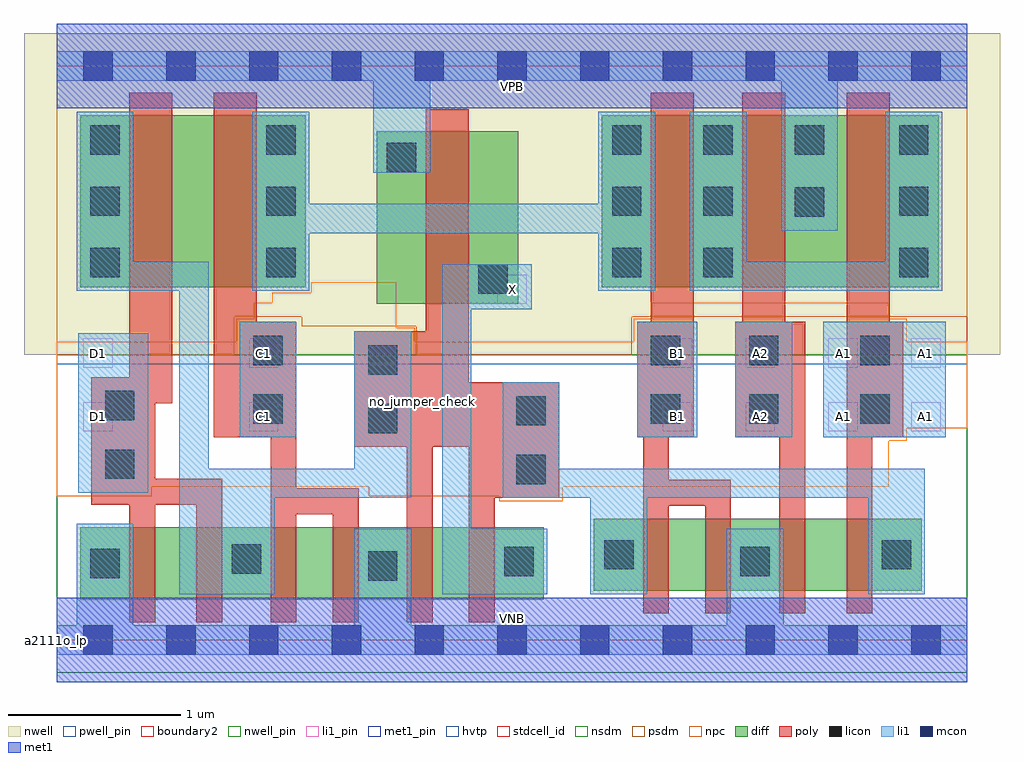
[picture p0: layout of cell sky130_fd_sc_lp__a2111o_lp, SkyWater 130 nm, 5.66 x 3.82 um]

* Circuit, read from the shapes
.subckt sky130_fd_sc_lp__a2111o_lp A1 A2 B1 C1 D1 VGND VNB VPB VPWR X
XM1 n1 D1 VGND VNB sky130_fd_pr__nfet_01v8 w=0.42 l=0.15
XM2 n2 D1 n1 VNB sky130_fd_pr__nfet_01v8 w=0.42 l=0.15
XM3 n3 C1 n2 VNB sky130_fd_pr__nfet_01v8 w=0.42 l=0.15
XM4 VGND C1 n3 VNB sky130_fd_pr__nfet_01v8 w=0.42 l=0.15
XM5 n4 n2 VGND VNB sky130_fd_pr__nfet_01v8 w=0.42 l=0.15
XM6 X n2 n4 VNB sky130_fd_pr__nfet_01v8 w=0.42 l=0.15
XM7 n5 B1 n2 VNB sky130_fd_pr__nfet_01v8 w=0.42 l=0.15
XM8 VGND B1 n5 VNB sky130_fd_pr__nfet_01v8 w=0.42 l=0.15
XM9 n6 A2 VGND VNB sky130_fd_pr__nfet_01v8 w=0.42 l=0.15
XM10 n2 A1 n6 VNB sky130_fd_pr__nfet_01v8 w=0.42 l=0.15
XM11 n7 D1 n2 VPB sky130_fd_pr__pfet_01v8_hvt w=1 l=0.25
XM12 n8 C1 n7 VPB sky130_fd_pr__pfet_01v8_hvt w=1 l=0.25
XM13 X n2 VPWR VPB sky130_fd_pr__pfet_01v8_hvt w=1 l=0.25
XM14 n9 B1 n8 VPB sky130_fd_pr__pfet_01v8_hvt w=1 l=0.25
XM15 VPWR A2 n9 VPB sky130_fd_pr__pfet_01v8_hvt w=1 l=0.25
XM16 n9 A1 VPWR VPB sky130_fd_pr__pfet_01v8_hvt w=1 l=0.25
.ends

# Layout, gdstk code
import gdstk
lib = gdstk.Library(unit=1e-6, precision=1e-09)
def R(c, l, rs):  # rectangles x0, y0, x1, y1
    for r in rs: c.add(gdstk.rectangle(r[:2], r[2:], *l))
def A(c, l, x, y, w, h, nx, ny, dx, dy):  # array of equal rectangles
    R(c, l, [(x+i*dx, y+j*dy, x+i*dx+w, y+j*dy+h) for i in range(nx) for j in range(ny)])
def P(c, l, *ps):  # polygons
    for p in ps: c.add(gdstk.Polygon(p, *l))
nwell_pin = (64, 16)
nwell = (64, 20)
diff = (65, 20)
poly = (66, 20)
licon = (66, 44)
li1_pin = (67, 16)
li1 = (67, 20)
mcon = (67, 44)
met1_pin = (68, 16)
met1 = (68, 20)
hvtp = (78, 44)
stdcell_id = (81, 4)
nsdm = (93, 44)
psdm = (94, 20)
npc = (95, 20)
pwell_pin = (122, 16)
boundary2 = (236, 0)

sky130_fd_sc_lp__a2111o_ = lib.new_cell('sky130_fd_sc_lp__a2111o_lp')
R(sky130_fd_sc_lp__a2111o_, nwell_pin, [(0,3.085,5.28,3.33)])
R(sky130_fd_sc_lp__a2111o_, nwell, [(-0.19,1.655,5.47,3.52)])
R(sky130_fd_sc_lp__a2111o_, diff, [(0.135,0.235,2.825,0.655), (3.115,0.285,5.015,0.705), (1.855,1.95,2.675,2.95), (0.135,2.045,1.445,3.045), (3.16,2.045,5.115,3.045)])
P(sky130_fd_sc_lp__a2111o_, poly, [(0.96,0.935),(0.57,0.935),(0.57,1.375),(0.67,1.375),(0.67,3.175),(0.42,3.175),(0.42,1.525),(0.2,1.525),(0.2,0.785),(0.42,0.785),(0.42,0.105),(0.57,0.105),(0.57,0.785),(0.81,0.785),(0.81,0.105),(0.96,0.105)],
  [(1.75,0.88),(1.39,0.88),(1.39,1.845),(1.16,1.845),(1.16,3.175),(0.91,3.175),(0.91,1.175),(1.24,1.175),(1.24,0.105),(1.39,0.105),(1.39,0.73),(1.6,0.73),(1.6,0.105),(1.75,0.105)],
  [(2.915,1.495),(2.39,1.495),(2.39,3.08),(2.14,3.08),(2.14,1.79),(1.725,1.79),(1.725,1.12),(2.03,1.12),(2.03,0.105),(2.18,0.105),(2.18,1.12),(2.39,1.12),(2.39,0.105),(2.54,0.105),(2.54,0.825),(2.915,0.825)],
  [(3.91,0.93),(3.55,0.93),(3.55,1.175),(3.695,1.175),(3.695,3.175),(3.445,3.175),(3.445,1.845),(3.365,1.845),(3.365,1.175),(3.4,1.175),(3.4,0.155),(3.55,0.155),(3.55,0.78),(3.76,0.78),(3.76,0.155),(3.91,0.155)],
  [(4.34,1.845),(4.225,1.845),(4.225,3.175),(3.975,3.175),(3.975,1.845),(3.935,1.845),(3.935,1.175),(4.19,1.175),(4.19,0.155),(4.34,0.155)],
  [(4.91,1.845),(4.83,1.845),(4.83,3.175),(4.58,3.175),(4.58,0.155),(4.73,0.155),(4.73,1.175),(4.91,1.175)])
A(sky130_fd_sc_lp__a2111o_, licon, 0.195, 2.105, 0.17, 0.17, 1, 3, 0, 0.355)
A(sky130_fd_sc_lp__a2111o_, licon, 1.215, 2.105, 0.17, 0.17, 1, 3, 0, 0.355)
A(sky130_fd_sc_lp__a2111o_, licon, 4.885, 2.105, 0.17, 0.17, 1, 3, 0, 0.355)
A(sky130_fd_sc_lp__a2111o_, licon, 3.22, 2.815, 0.17, 0.17, 3, 1, 0.53, 0)
R(sky130_fd_sc_lp__a2111o_, licon, [(1.805,0.345,1.975,0.515), (0.195,0.36,0.365,0.53), (2.595,0.37,2.765,0.54), (3.965,0.37,4.135,0.54), (1.015,0.385,1.185,0.555), (3.175,0.41,3.345,0.58), (4.785,0.41,4.955,0.58), (2.665,0.905,2.835,1.075), (0.28,0.935,0.45,1.105), (1.805,1.2,1.975,1.37), (2.665,1.245,2.835,1.415), (1.14,1.255,1.31,1.425), (3.445,1.255,3.615,1.425), (4.015,1.255,4.185,1.425), (4.66,1.255,4.83,1.425), (0.28,1.275,0.45,1.445), (1.805,1.54,1.975,1.71), (1.14,1.595,1.31,1.765), (3.445,1.595,3.615,1.765), (4.015,1.595,4.185,1.765), (4.66,1.595,4.83,1.765), (2.445,2.01,2.615,2.18), (3.22,2.105,3.39,2.275), (3.75,2.105,3.92,2.275), (4.28,2.455,4.45,2.625), (3.22,2.46,3.39,2.63), (3.75,2.46,3.92,2.63), (1.915,2.715,2.085,2.885)])
A(sky130_fd_sc_lp__a2111o_, li1_pin, 3.515, 1.21, 0.17, 0.17, 4, 2, 0.48, 0.37)
R(sky130_fd_sc_lp__a2111o_, li1_pin, [(0.155,1.21,0.325,1.38), (1.115,1.21,1.285,1.38), (0.155,1.58,0.325,1.75), (1.115,1.58,1.285,1.75), (2.555,1.95,2.725,2.12)])
R(sky130_fd_sc_lp__a2111o_, li1, [(0.125,0.855,0.53,1.78), (1.06,1.175,1.39,1.845), (3.365,1.175,3.715,1.845), (3.935,1.175,4.265,1.845), (4.445,1.175,5.155,1.845)])
P(sky130_fd_sc_lp__a2111o_, li1, [(1.835,2.71),(1.835,3.245),(0,3.245),(0,3.415),(5.28,3.415),(5.28,3.245),(4.53,3.245),(4.53,2.375),(4.2,2.375),(4.2,3.245),(2.165,3.245),(2.165,2.71)],
  [(1.725,0.085),(1.725,0.645),(2.055,0.645),(2.055,0.085),(3.885,0.085),(3.885,0.645),(4.215,0.645),(4.215,0.085),(5.28,0.085),(5.28,-0.085),(0,-0.085),(0,0.085),(0.115,0.085),(0.115,0.675),(0.445,0.675),(0.445,0.085)],
  [(0.445,2.195),(0.88,2.195),(0.88,0.995),(1.725,0.995),(1.725,1.79),(2.055,1.79),(2.055,0.825),(1.265,0.825),(1.265,0.265),(0.71,0.265),(0.71,2.025),(0.115,2.025),(0.115,3.065),(0.445,3.065)],
  [(2.915,0.995),(5.035,0.995),(5.035,0.265),(4.705,0.265),(4.705,0.825),(3.425,0.825),(3.425,0.265),(3.095,0.265),(3.095,0.825),(2.585,0.825),(2.585,1.495),(2.915,1.495)],
  [(2.235,2.18),(2.755,2.18),(2.755,1.92),(2.405,1.92),(2.405,0.645),(2.845,0.645),(2.845,0.265),(2.235,0.265)],
  [(3.14,2.025),(3.14,2.36),(1.465,2.36),(1.465,2.025),(1.135,2.025),(1.135,3.065),(1.465,3.065),(1.465,2.53),(3.14,2.53),(3.14,3.065),(3.47,3.065),(3.47,2.025)],
  [(4.805,2.195),(4.805,3.065),(5.135,3.065),(5.135,2.025),(3.67,2.025),(3.67,3.065),(4,3.065),(4,2.195)])
A(sky130_fd_sc_lp__a2111o_, mcon, 0.155, -0.085, 0.17, 0.17, 11, 2, 0.48, 3.33)
R(sky130_fd_sc_lp__a2111o_, met1_pin, [(0,0,5.28,0.245), (0,3.085,5.28,3.33)])
R(sky130_fd_sc_lp__a2111o_, met1, [(0,-0.245,5.28,0.245), (0,3.085,5.28,3.575)])
R(sky130_fd_sc_lp__a2111o_, hvtp, [(0,1.6,5.28,3.33)])
R(sky130_fd_sc_lp__a2111o_, stdcell_id, [(0,0,5.28,3.33)])
R(sky130_fd_sc_lp__a2111o_, nsdm, [(0,-0.19,5.28,1.655)])
P(sky130_fd_sc_lp__a2111o_, psdm, [(5.28,3.52),(0,3.52),(0,1.655),(1.03,1.655),(1.03,1.875),(1.42,1.875),(1.42,1.82),(2.085,1.82),(2.085,1.655),(3.335,1.655),(3.335,1.875),(5.28,1.875)])
P(sky130_fd_sc_lp__a2111o_, npc, [(5.28,1.73),(4.93,1.73),(4.93,1.865),(4.825,1.865),(4.825,1.955),(3.45,1.955),(3.45,1.865),(3.345,1.865),(3.345,1.73),(2.075,1.73),(2.075,1.81),(1.97,1.81),(1.97,2.075),(1.475,2.075),(1.475,2.015),(1.25,2.015),(1.25,1.955),(1.145,1.955),(1.145,1.865),(1.04,1.865),(1.04,1.73),(0,1.73),(0,0.835),(0.55,0.835),(0.55,0.89),(1.81,0.89),(1.81,0.835),(2.565,0.835),(2.565,0.805),(2.935,0.805),(2.935,0.89),(4.825,0.89),(4.825,1.155),(4.93,1.155),(4.93,1.23),(5.28,1.23)])
R(sky130_fd_sc_lp__a2111o_, pwell_pin, [(0,0,5.28,0.245)])
R(sky130_fd_sc_lp__a2111o_, boundary2, [(0,0,5.28,3.33)])
sky130_fd_sc_lp__a2111o_.add(gdstk.Label('VNB', (2.64,0.123), layer=64, texttype=59))
sky130_fd_sc_lp__a2111o_.add(gdstk.Label('VPB', (2.64,3.208), layer=64, texttype=5))
sky130_fd_sc_lp__a2111o_.add(gdstk.Label('a2111o_lp', (0,0), layer=83, texttype=44))
sky130_fd_sc_lp__a2111o_.add(gdstk.Label('no_jumper_check', (2.12,1.385), layer=83, texttype=44))
sky130_fd_sc_lp__a2111o_.add(gdstk.Label('VPWR', (2.64,3.208), layer=68, texttype=5))
sky130_fd_sc_lp__a2111o_.add(gdstk.Label('VGND', (2.64,0.123), layer=68, texttype=5))
sky130_fd_sc_lp__a2111o_.add(gdstk.Label('D1', (0.24,1.295), layer=67, texttype=5))
sky130_fd_sc_lp__a2111o_.add(gdstk.Label('D1', (0.24,1.665), layer=67, texttype=5))
sky130_fd_sc_lp__a2111o_.add(gdstk.Label('C1', (1.2,1.295), layer=67, texttype=5))
sky130_fd_sc_lp__a2111o_.add(gdstk.Label('C1', (1.2,1.665), layer=67, texttype=5))
sky130_fd_sc_lp__a2111o_.add(gdstk.Label('B1', (3.6,1.295), layer=67, texttype=5))
sky130_fd_sc_lp__a2111o_.add(gdstk.Label('B1', (3.6,1.665), layer=67, texttype=5))
sky130_fd_sc_lp__a2111o_.add(gdstk.Label('A2', (4.08,1.295), layer=67, texttype=5))
sky130_fd_sc_lp__a2111o_.add(gdstk.Label('A2', (4.08,1.665), layer=67, texttype=5))
sky130_fd_sc_lp__a2111o_.add(gdstk.Label('A1', (4.56,1.295), layer=67, texttype=5))
sky130_fd_sc_lp__a2111o_.add(gdstk.Label('A1', (4.56,1.665), layer=67, texttype=5))
sky130_fd_sc_lp__a2111o_.add(gdstk.Label('A1', (5.04,1.295), layer=67, texttype=5))
sky130_fd_sc_lp__a2111o_.add(gdstk.Label('A1', (5.04,1.665), layer=67, texttype=5))
sky130_fd_sc_lp__a2111o_.add(gdstk.Label('X', (2.64,2.035), layer=67, texttype=5))

lib.write_gds('sky130_fd_sc_lp__a2111o_lp.gds')
